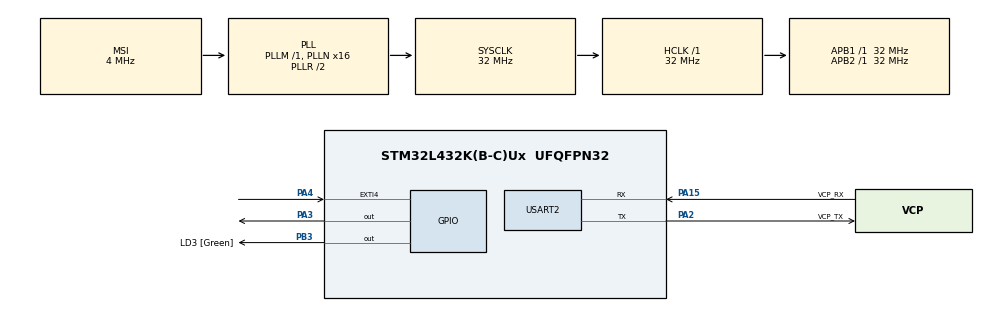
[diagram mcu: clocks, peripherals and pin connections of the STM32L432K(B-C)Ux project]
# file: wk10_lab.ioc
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Mcu.Family=STM32L4
Mcu.Name=STM32L432K(B-C)Ux
Mcu.Package=UFQFPN32
NVIC.EXTI4_IRQn=true\:0\:0\:false\:false\:true\:true\:true\:true
NVIC.PriorityGroup=NVIC_PRIORITYGROUP_4
PA0.GPIO_Label=MCO [High speed clock in]
PA0.Mode=HSE-External-Clock-Source-for-LittleOrca
PA0.Signal=RCC_CK_IN
PA13\ (JTMS-SWDIO).GPIO_Label=SWDIO
PA13\ (JTMS-SWDIO).Mode=Serial_Wire
PA13\ (JTMS-SWDIO).Signal=SYS_JTMS-SWDIO
PA14\ (JTCK-SWCLK).GPIO_Label=SWCLK
PA14\ (JTCK-SWCLK).Mode=Serial_Wire
PA14\ (JTCK-SWCLK).Signal=SYS_JTCK-SWCLK
PA15\ (JTDI).GPIO_Label=VCP_RX
PA15\ (JTDI).Mode=Asynchronous
PA15\ (JTDI).Signal=USART2_RX
PA2.GPIO_Label=VCP_TX
PA2.Mode=Asynchronous
PA2.Signal=USART2_TX
PA3.Signal=GPIO_Output
PA4.Signal=GPXTI4
PB3\ (JTDO-TRACESWO).GPIO_Label=LD3 [Green]
PB3\ (JTDO-TRACESWO).Signal=GPIO_Output
PC14-OSC32_IN\ (PC14).Mode=LSE-External-Oscillator
PC14-OSC32_IN\ (PC14).Signal=RCC_OSC32_IN
PC15-OSC32_OUT\ (PC15).Mode=LSE-External-Oscillator
PC15-OSC32_OUT\ (PC15).Signal=RCC_OSC32_OUT
ProjectManager.HeapSize=0x200
ProjectManager.StackSize=0x400
ProjectManager.TargetToolchain=STM32CubeIDE
RCC.AHBFreq_Value=32000000
RCC.APB1Freq_Value=32000000
RCC.APB1TimFreq_Value=32000000
RCC.APB2Freq_Value=32000000
RCC.APB2TimFreq_Value=32000000
RCC.CortexFreq_Value=32000000
RCC.HCLKFreq_Value=32000000
RCC.HSE_VALUE=8000000
RCC.HSI16_VALUE=16000000
RCC.HSI48_VALUE=48000000
RCC.HSI_VALUE=16000000
RCC.MSI_VALUE=4000000
RCC.PLLMUL=RCC_PLLMUL_4
RCC.PLLN=16
RCC.SYSCLKFreq_VALUE=32000000
RCC.SYSCLKSource=RCC_SYSCLKSOURCE_PLLCLK
RCC.VCOOutputFreq_Value=64000000
TIM16.Prescaler=32-1
TIM6.Prescaler=32-1
USART2.VirtualMode-Asynchronous=VM_ASYNC
VP_TIM16_VS_ClockSourceINT.Mode=Enable_Timer
VP_TIM6_VS_ClockSourceINT.Mode=Enable_Timer
board=NUCLEO-L432KC

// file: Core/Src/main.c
/* USER CODE BEGIN Header */
/**
  ******************************************************************************
  * @file           : main.c
  * @brief          : Main program body
  ******************************************************************************
  * @attention
  *
  * Copyright (c) 2025 STMicroelectronics.
  * All rights reserved.
  *
  * This software is licensed under terms that can be found in the LICENSE file
  * in the root directory of this software component.
  * If no LICENSE file comes with this software, it is provided AS-IS.
  *
  ******************************************************************************
  */
/* USER CODE END Header */
#include "main.h"

/* USER CODE BEGIN Includes */
#include <string.h>
#include <stdio.h>
#include <math.h>
/* USER CODE END Includes */

/* USER CODE BEGIN PD */
#define TRIG_PIN GPIO_PIN_3
#define TRIG_PORT GPIOA
#define ECHO_PIN GPIO_PIN_4
#define ECHO_PORT GPIOA
#define SPEED_OF_SOUND 343.0 // Speed of sound in m/s
/* USER CODE END PD */

TIM_HandleTypeDef htim6;
TIM_HandleTypeDef htim16;

UART_HandleTypeDef huart2;

void SystemClock_Config(void);
static void MX_GPIO_Init(void);
static void MX_USART2_UART_Init(void);
static void MX_TIM6_Init(void);
static void MX_TIM16_Init(void);

/* USER CODE BEGIN 0 */
void delay_us(uint32_t us)
{
	__HAL_TIM_SET_COUNTER(&htim16, 0); // Reset timer
	while (__HAL_TIM_GET_COUNTER(&htim16) < us); // Wait for the specified time
}

float measure_distance()
{
	uint32_t start_time, end_time;
	float distance;

	// Send a 10us pulse
	HAL_GPIO_WritePin(TRIG_PORT, TRIG_PIN, GPIO_PIN_RESET);
	delay_us(2); // Ensure pin is low initially
	HAL_GPIO_WritePin(TRIG_PORT, TRIG_PIN, GPIO_PIN_SET);
	delay_us(10); // 10us pulse
	HAL_GPIO_WritePin(TRIG_PORT, TRIG_PIN, GPIO_PIN_RESET);

	// Wait for Echo Pin to go high
	while (HAL_GPIO_ReadPin(ECHO_PORT, ECHO_PIN) == GPIO_PIN_RESET);

	// Measure high time
	start_time = __HAL_TIM_GET_COUNTER(&htim16);
	while (HAL_GPIO_ReadPin(ECHO_PORT, ECHO_PIN) == GPIO_PIN_SET);
	end_time = __HAL_TIM_GET_COUNTER(&htim16);

	// Calculate distance (time in microseconds, speed in m/s)
	distance = ((end_time - start_time) * SPEED_OF_SOUND) / (2 * 1000000.0);

	return distance;
}

/* USER CODE END 0 */

int main(void)
{

  /* MCU Configuration--------------------------------------------------------*/

  /* Reset of all peripherals, Initializes the Flash interface and the Systick. */
  HAL_Init();

  /* Configure the system clock */
  SystemClock_Config();

  /* Initialize all configured peripherals */
  MX_GPIO_Init();
  MX_USART2_UART_Init();
  MX_TIM6_Init();
  MX_TIM16_Init();
  /* USER CODE BEGIN 2 */
  HAL_TIM_Base_Start(&htim16);

  char msg[50];
  uint32_t distance = 0;
  /* USER CODE END 2 */

  /* Infinite loop */
  /* USER CODE BEGIN WHILE */
  while (1)
  {
	  distance = (int)ceil(measure_distance()*100);
	  sprintf(msg, "Distance: %lu cm\r\n", distance); // Convert to cm
	  HAL_UART_Transmit(&huart2, (uint8_t *)msg, strlen(msg), HAL_MAX_DELAY);
	  HAL_Delay(100); // Wait before next measurement

    /* USER CODE END WHILE */

  }
}

void SystemClock_Config(void)
{
  RCC_OscInitTypeDef RCC_OscInitStruct = {0};
  RCC_ClkInitTypeDef RCC_ClkInitStruct = {0};

  /** Configure the main internal regulator output voltage
  */
  if (HAL_PWREx_ControlVoltageScaling(PWR_REGULATOR_VOLTAGE_SCALE1) != HAL_OK)
  {
    Error_Handler();
  }

  /** Configure LSE Drive Capability
  */
  HAL_PWR_EnableBkUpAccess();
  __HAL_RCC_LSEDRIVE_CONFIG(RCC_LSEDRIVE_LOW);

  /** Initializes the RCC Oscillators according to the specified parameters
  * in the RCC_OscInitTypeDef structure.
  */
  RCC_OscInitStruct.OscillatorType = RCC_OSCILLATORTYPE_LSE|RCC_OSCILLATORTYPE_MSI;
  RCC_OscInitStruct.LSEState = RCC_LSE_ON;
  RCC_OscInitStruct.MSIState = RCC_MSI_ON;
  RCC_OscInitStruct.MSICalibrationValue = 0;
  RCC_OscInitStruct.MSIClockRange = RCC_MSIRANGE_6;
  RCC_OscInitStruct.PLL.PLLState = RCC_PLL_ON;
  RCC_OscInitStruct.PLL.PLLSource = RCC_PLLSOURCE_MSI;
  RCC_OscInitStruct.PLL.PLLM = 1;
  RCC_OscInitStruct.PLL.PLLN = 16;
  RCC_OscInitStruct.PLL.PLLP = RCC_PLLP_DIV7;
  RCC_OscInitStruct.PLL.PLLQ = RCC_PLLQ_DIV2;
  RCC_OscInitStruct.PLL.PLLR = RCC_PLLR_DIV2;
  if (HAL_RCC_OscConfig(&RCC_OscInitStruct) != HAL_OK)
  {
    Error_Handler();
  }

  /** Initializes the CPU, AHB and APB buses clocks
  */
  RCC_ClkInitStruct.ClockType = RCC_CLOCKTYPE_HCLK|RCC_CLOCKTYPE_SYSCLK
                              |RCC_CLOCKTYPE_PCLK1|RCC_CLOCKTYPE_PCLK2;
  RCC_ClkInitStruct.SYSCLKSource = RCC_SYSCLKSOURCE_PLLCLK;
  RCC_ClkInitStruct.AHBCLKDivider = RCC_SYSCLK_DIV1;
  RCC_ClkInitStruct.APB1CLKDivider = RCC_HCLK_DIV1;
  RCC_ClkInitStruct.APB2CLKDivider = RCC_HCLK_DIV1;

  if (HAL_RCC_ClockConfig(&RCC_ClkInitStruct, FLASH_LATENCY_1) != HAL_OK)
  {
    Error_Handler();
  }

  /** Enable MSI Auto calibration
  */
  HAL_RCCEx_EnableMSIPLLMode();
}

static void MX_TIM6_Init(void)
{

  TIM_MasterConfigTypeDef sMasterConfig = {0};

  htim6.Instance = TIM6;
  htim6.Init.Prescaler = 32-1;
  htim6.Init.CounterMode = TIM_COUNTERMODE_UP;
  htim6.Init.Period = 65535;
  htim6.Init.AutoReloadPreload = TIM_AUTORELOAD_PRELOAD_DISABLE;
  if (HAL_TIM_Base_Init(&htim6) != HAL_OK)
  {
    Error_Handler();
  }
  sMasterConfig.MasterOutputTrigger = TIM_TRGO_RESET;
  sMasterConfig.MasterSlaveMode = TIM_MASTERSLAVEMODE_DISABLE;
  if (HAL_TIMEx_MasterConfigSynchronization(&htim6, &sMasterConfig) != HAL_OK)
  {
    Error_Handler();
  }

}

static void MX_TIM16_Init(void)
{

  htim16.Instance = TIM16;
  htim16.Init.Prescaler = 32-1;
  htim16.Init.CounterMode = TIM_COUNTERMODE_UP;
  htim16.Init.Period = 65535;
  htim16.Init.ClockDivision = TIM_CLOCKDIVISION_DIV1;
  htim16.Init.RepetitionCounter = 0;
  htim16.Init.AutoReloadPreload = TIM_AUTORELOAD_PRELOAD_DISABLE;
  if (HAL_TIM_Base_Init(&htim16) != HAL_OK)
  {
    Error_Handler();
  }

}

static void MX_USART2_UART_Init(void)
{

  huart2.Instance = USART2;
  huart2.Init.BaudRate = 115200;
  huart2.Init.WordLength = UART_WORDLENGTH_8B;
  huart2.Init.StopBits = UART_STOPBITS_1;
  huart2.Init.Parity = UART_PARITY_NONE;
  huart2.Init.Mode = UART_MODE_TX_RX;
  huart2.Init.HwFlowCtl = UART_HWCONTROL_NONE;
  huart2.Init.OverSampling = UART_OVERSAMPLING_16;
  huart2.Init.OneBitSampling = UART_ONE_BIT_SAMPLE_DISABLE;
  huart2.AdvancedInit.AdvFeatureInit = UART_ADVFEATURE_NO_INIT;
  if (HAL_UART_Init(&huart2) != HAL_OK)
  {
    Error_Handler();
  }

}

static void MX_GPIO_Init(void)
{
  GPIO_InitTypeDef GPIO_InitStruct = {0};

  /* GPIO Ports Clock Enable */
  __HAL_RCC_GPIOC_CLK_ENABLE();
  __HAL_RCC_GPIOA_CLK_ENABLE();
  __HAL_RCC_GPIOB_CLK_ENABLE();

  /*Configure GPIO pin Output Level */
  HAL_GPIO_WritePin(GPIOA, GPIO_PIN_3, GPIO_PIN_RESET);

  /*Configure GPIO pin Output Level */
  HAL_GPIO_WritePin(LD3_GPIO_Port, LD3_Pin, GPIO_PIN_RESET);

  /*Configure GPIO pin : PA3 */
  GPIO_InitStruct.Pin = GPIO_PIN_3;
  GPIO_InitStruct.Mode = GPIO_MODE_OUTPUT_PP;
  GPIO_InitStruct.Pull = GPIO_NOPULL;
  GPIO_InitStruct.Speed = GPIO_SPEED_FREQ_LOW;
  HAL_GPIO_Init(GPIOA, &GPIO_InitStruct);

  /*Configure GPIO pin : PA4 */
  GPIO_InitStruct.Pin = GPIO_PIN_4;
  GPIO_InitStruct.Mode = GPIO_MODE_IT_RISING;
  GPIO_InitStruct.Pull = GPIO_NOPULL;
  HAL_GPIO_Init(GPIOA, &GPIO_InitStruct);

  /*Configure GPIO pin : LD3_Pin */
  GPIO_InitStruct.Pin = LD3_Pin;
  GPIO_InitStruct.Mode = GPIO_MODE_OUTPUT_PP;
  GPIO_InitStruct.Pull = GPIO_NOPULL;
  GPIO_InitStruct.Speed = GPIO_SPEED_FREQ_LOW;
  HAL_GPIO_Init(LD3_GPIO_Port, &GPIO_InitStruct);

  /* EXTI interrupt init*/
  HAL_NVIC_SetPriority(EXTI4_IRQn, 0, 0);
  HAL_NVIC_EnableIRQ(EXTI4_IRQn);

}

void Error_Handler(void)
{
  __disable_irq();
  while (1)
  {
  }
}
